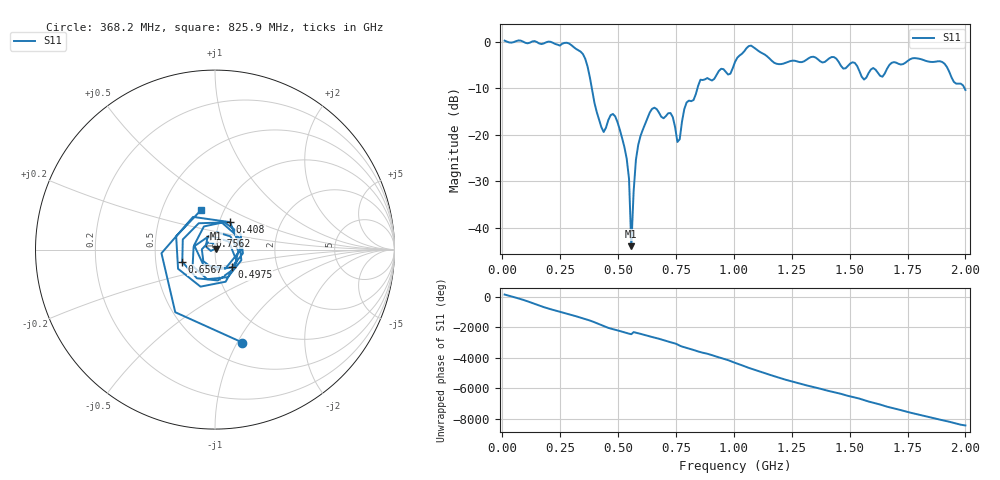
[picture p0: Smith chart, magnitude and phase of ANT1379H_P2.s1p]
!Created with skrf (http://scikit-rf.org).
# Hz S RI R 50.0
!freq ReS11 ImS11
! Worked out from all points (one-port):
!   201 points, 10 MHz to 2 GHz, reference 50 ohm
!   lowest |S11| = -44.0 dB at 557.2 MHz (marker M1), VSWR 1.01, Z = 50.3 + j0.549 ohm
!   |S11| at or under -10 dB: 386.4 MHz to 843.1 MHz (456.7 MHz wide, 74.3 % of centre); 1.995904 GHz to end of sweep
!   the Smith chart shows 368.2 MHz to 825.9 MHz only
!   S11 on the Smith chart (normalised r, x): 368.2 MHz: 0.72, -1.05; 408 MHz: 1.12, +0.35; 497.6 MHz: 1.18, -0.24; 656.8 MHz: 0.69, -0.10; 756.2 MHz: 0.93, +0.15; 825.9 MHz: 0.78, +0.37
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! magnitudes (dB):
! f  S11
! 10 MHz  0.2
! 258.8 MHz  -0.5
! 368.2 MHz  -5.4
! 408 MHz  -15.2
! 437.9 MHz  -19.4
! 467.7 MHz  -15.8
! 497.6 MHz  -17.3
! 507.5 MHz  -18.9
! 547.3 MHz  -29.5
! 557.2 MHz  -44.0
! 567.2 MHz  -32.2
! 587.1 MHz  -22.2
! 656.8 MHz  -14.2
! 726.4 MHz  -15.4
! 756.2 MHz  -21.6
! 796 MHz  -13.1
! 825.9 MHz  -12.6
! 855.8 MHz  -8.2
! 985.1 MHz  -6.9
! 1.005 GHz  -4.4
! 1.075 GHz  -0.9
! 1.184 GHz  -4.8
! 1.254 GHz  -4.1
! 1.502 GHz  -4.7
! 1.562 GHz  -8.2
! 1.751 GHz  -4.1
! 1.901 GHz  -4.4
! 2 GHz  -10.4
